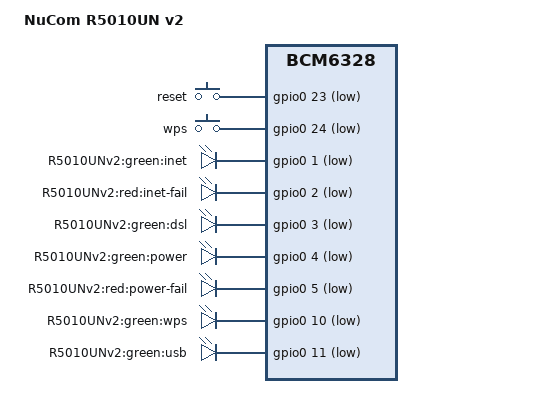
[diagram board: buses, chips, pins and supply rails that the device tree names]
/dts-v1/;

#include "bcm6328.dtsi"

#include <dt-bindings/input/input.h>

/ {
	model = "NuCom R5010UN v2";
	compatible = "nucom,r5010unv2", "brcm,bcm6328";

	chosen {
		bootargs = "root=/dev/mtdblock2 rootfstype=squashfs,jffs2 noinitrd console=ttyS0,115200";
	};

	
	gpio-keys-polled {
		compatible = "gpio-keys-polled";
		#address-cells = <1>;
		#size-cells = <0>;
		poll-interval = <20>;
		debounce-interval = <60>;

		reset {
			label = "reset";
			gpios = <&gpio0 23 1>;
			linux,code = <KEY_RESTART>;
		};
		wps {
			label = "wps";
			gpios = <&gpio0 24 1>;
			linux,code = <KEY_WPS_BUTTON>;
		};
	};

	gpio-leds {
		compatible = "gpio-leds";

		inet_green {
			label = "R5010UNv2:green:inet";
			gpios = <&gpio0 1 1>;
		};
		inet_fail_red {
			label = "R5010UNv2:red:inet-fail";
			gpios = <&gpio0 2 1>;
		};
		dsl_red {
			label = "R5010UNv2:green:dsl";
			gpios = <&gpio0 3 1>;
		};
		power_green {
			label = "R5010UNv2:green:power";
			gpios = <&gpio0 4 1>;
			default-state = "on";
		};
		power_fail_red {
			label = "R5010UNv2:red:power-fail";
			gpios = <&gpio0 5 1>;
		};
		wps_green {
			label = "R5010UNv2:green:wps";
			gpios = <&gpio0 10 1>;
		};
		usb_green {
			label = "R5010UNv2:green:usb";
			gpios = <&gpio0 11 1>;
		};
	};
};

